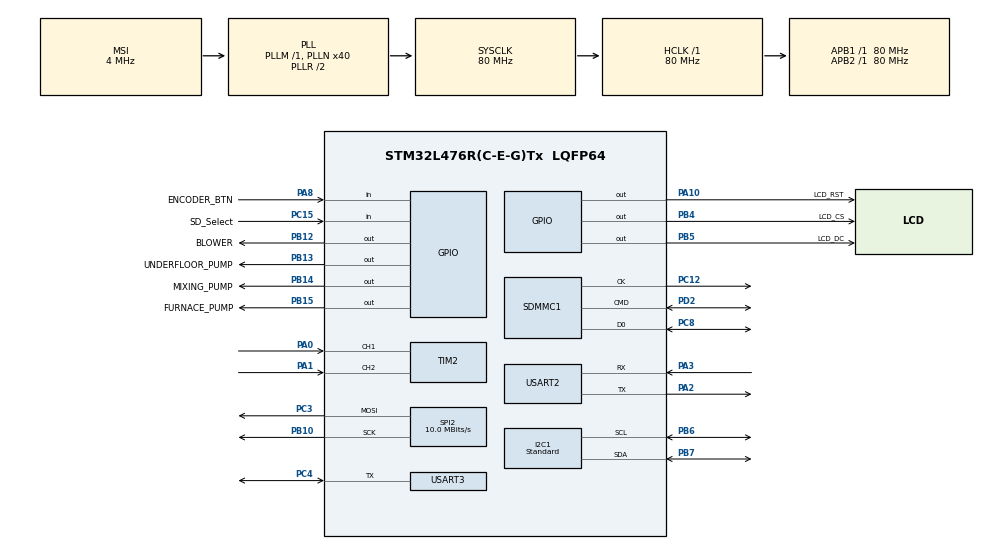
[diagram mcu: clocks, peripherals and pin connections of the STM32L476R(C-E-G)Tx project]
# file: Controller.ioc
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Dma.Request0=SPI2_TX
Dma.SPI2_TX.0.Direction=DMA_MEMORY_TO_PERIPH
Dma.SPI2_TX.0.Instance=DMA1_Channel5
Dma.SPI2_TX.0.MemDataAlignment=DMA_MDATAALIGN_BYTE
Dma.SPI2_TX.0.MemInc=DMA_MINC_ENABLE
Dma.SPI2_TX.0.Mode=DMA_NORMAL
Dma.SPI2_TX.0.PeriphDataAlignment=DMA_PDATAALIGN_BYTE
Dma.SPI2_TX.0.PeriphInc=DMA_PINC_DISABLE
Dma.SPI2_TX.0.Priority=DMA_PRIORITY_LOW
FATFS.BSP.number=1
FATFS._MAX_SS=512
FATFS0.BSP.STBoard=false
FATFS0.BSP.api=Unknown
FATFS0.BSP.instance=PC15-OSC32_OUT (PC15)
FATFS0.BSP.ip=GPIO
FATFS0.BSP.mode=Input
FATFS0.BSP.name=Detect_SDIO
FATFS0.BSP.solution=PC15-OSC32_OUT (PC15)
I2C1.I2C_Speed_Mode=I2C_Standard
I2C1.Timing=0x10D19CE4
Mcu.Family=STM32L4
Mcu.Name=STM32L476R(C-E-G)Tx
Mcu.Package=LQFP64
NVIC.DMA1_Channel5_IRQn=true\:0\:0\:false\:false\:true\:false\:true\:true
NVIC.PriorityGroup=NVIC_PRIORITYGROUP_4
NVIC.TIM7_IRQn=true\:10\:0\:true\:false\:true\:true\:true\:true
PA0.Signal=S_TIM2_CH1
PA1.Signal=S_TIM2_CH2
PA10.GPIO_Label=LCD_RST
PA10.Signal=GPIO_Output
PA13\ (JTMS-SWDIO).Mode=Serial_Wire
PA13\ (JTMS-SWDIO).Signal=SYS_JTMS-SWDIO
PA14\ (JTCK-SWCLK).Mode=Serial_Wire
PA14\ (JTCK-SWCLK).Signal=SYS_JTCK-SWCLK
PA2.Mode=Asynchronous
PA2.Signal=USART2_TX
PA3.Mode=Asynchronous
PA3.Signal=USART2_RX
PA8.GPIO_Label=ENCODER_BTN
PA8.Signal=GPIO_Input
PB10.Mode=TX_Only_Simplex_Unidirect_Master
PB10.Signal=SPI2_SCK
PB12.GPIO_Label=BLOWER
PB12.Signal=GPIO_Output
PB13.GPIO_Label=UNDERFLOOR_PUMP
PB13.Signal=GPIO_Output
PB14.GPIO_Label=MIXING_PUMP
PB14.Signal=GPIO_Output
PB15.GPIO_Label=FURNACE_PUMP
PB15.Signal=GPIO_Output
PB4\ (NJTRST).GPIO_Label=LCD_CS
PB4\ (NJTRST).PinState=GPIO_PIN_SET
PB4\ (NJTRST).Signal=GPIO_Output
PB5.GPIO_Label=LCD_DC
PB5.Signal=GPIO_Output
PB6.Mode=I2C
PB6.Signal=I2C1_SCL
PB7.Mode=I2C
PB7.Signal=I2C1_SDA
PC12.Mode=SD_1_bit
PC12.Signal=SDMMC1_CK
PC15-OSC32_OUT\ (PC15).GPIO_Label=SD_Select
PC15-OSC32_OUT\ (PC15).Signal=GPIO_Input
PC3.Mode=TX_Only_Simplex_Unidirect_Master
PC3.Signal=SPI2_MOSI
PC4.Mode=Half_duplex(single_wire_mode)
PC4.Signal=USART3_TX
PC8.Mode=SD_1_bit
PC8.Signal=SDMMC1_D0
PD2.Mode=SD_1_bit
PD2.Signal=SDMMC1_CMD
ProjectManager.HeapSize=0x2000
ProjectManager.StackSize=0x3000
ProjectManager.TargetToolchain=STM32CubeIDE
RCC.ADCFreq_Value=40000000
RCC.AHBFreq_Value=80000000
RCC.APB1Freq_Value=80000000
RCC.APB1TimFreq_Value=80000000
RCC.APB2Freq_Value=80000000
RCC.APB2TimFreq_Value=80000000
RCC.CortexFreq_Value=80000000
RCC.HCLKFreq_Value=80000000
RCC.HSE_VALUE=8000000
RCC.HSI_VALUE=16000000
RCC.LSE_VALUE=32768
RCC.MSI_VALUE=4000000
RCC.PLLN=40
RCC.PLLQ=RCC_PLLQ_DIV4
RCC.PLLSAI1N=20
RCC.PLLSAI2N=52
RCC.PLLSAI2P=RCC_PLLP_DIV17
RCC.SAI1CLockSelection=RCC_SAI1CLKSOURCE_PLLSAI2
RCC.SYSCLKFreq_VALUE=80000000
RCC.SYSCLKSource=RCC_SYSCLKSOURCE_PLLCLK
RCC.USART2CLockSelection=RCC_USART2CLKSOURCE_SYSCLK
RCC.USBFreq_Value=40000000
RCC.VCOOutputFreq_Value=160000000
RTC.Date=16
RTC.Format=RTC_FORMAT_BCD
RTC.Hours=21
RTC.Minutes=37
RTC.Month=RTC_MONTH_JULY
RTC.Seconds=25
RTC.WeekDay=RTC_WEEKDAY_TUESDAY
RTC.Year=24
SH.S_TIM2_CH1.0=TIM2_CH1,Encoder_Interface
SH.S_TIM2_CH2.0=TIM2_CH2,Encoder_Interface
SPI2.BaudRatePrescaler=SPI_BAUDRATEPRESCALER_8
SPI2.CalculateBaudRate=10.0 MBits/s
SPI2.DataSize=SPI_DATASIZE_8BIT
SPI2.Direction=SPI_DIRECTION_2LINES
SPI2.Mode=SPI_MODE_MASTER
SPI2.NSSPMode=SPI_NSS_PULSE_DISABLE
SPI2.VirtualType=VM_MASTER
TIM6.Prescaler=79
TIM7.Period=9999
TIM7.Prescaler=7999
USART2.VirtualMode-Asynchronous=VM_ASYNC
USART3.BaudRate=9600
USART3.OverrunDisableParam=ADVFEATURE_OVERRUN_DISABLE
USART3.VirtualMode-Half_duplex(single_wire_mode)=VM_ASYNC
VP_FATFS_VS_SDIO.Mode=SDIO
VP_RTC_VS_RTC_Activate.Mode=RTC_Enabled
VP_RTC_VS_RTC_Calendar.Mode=RTC_Calendar
VP_TIM6_VS_ClockSourceINT.Mode=Enable_Timer
VP_TIM7_VS_ClockSourceINT.Mode=Enable_Timer
board=custom

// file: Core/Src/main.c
/* USER CODE BEGIN Header */
/**
  ******************************************************************************
  * @file           : main.c
  * @brief          : Main program body
  ******************************************************************************
  * @attention
  *
  * Copyright (c) 2024 STMicroelectronics.
  * All rights reserved.
  *
  * This software is licensed under terms that can be found in the LICENSE file
  * in the root directory of this software component.
  * If no LICENSE file comes with this software, it is provided AS-IS.
  *
  ******************************************************************************
  */
/* USER CODE END Header */
#include "main.h"
#include "dma.h"
#include "fatfs.h"
#include "i2c.h"
#include "rtc.h"
#include "sdmmc.h"
#include "spi.h"
#include "tim.h"
#include "usart.h"
#include "gpio.h"

/* USER CODE BEGIN Includes */
#include "stdio.h"
#include "stdbool.h"
#include "lcd_seven_segment.h"
#include "one_wire.h"
#include "eeprom.h"
#include "fire_controller_configuration.h"
#include "sd_controll.h"

#include "lvgl.h"
#include "lcd.h"
#include "lcd_controller.h"
#include "menu.h"
#include "port_encoder.h"
/* USER CODE END Includes */

/* USER CODE BEGIN PTD */
typedef enum {
	FSM_IDLE = 0,
	FSM_PREHEATING,
	FSM_WORK,
	FSM_EXTINCTION,
	FSM_OVERHEATING,
	FSM_BLOWOUT,
}FSM;

typedef struct {
	GPIO_TypeDef* Port;
	uint16_t Pin;
	bool is_active;
} PUMP_GPIO;
/* USER CODE END PTD */

/* USER CODE BEGIN PD */
#define NO_SENSORS						4
#define FURNACE_OVERHEAT_TEMPERATURE 	(float)95.0f
#define OUT_WATER_OVERHEAT_TEMPERATURE 	(float)90.0f
/* USER CODE END PD */

/* USER CODE BEGIN PV */
static PUMP_GPIO furnace_pump = {FURNACE_PUMP_GPIO_Port, FURNACE_PUMP_Pin, false};
static PUMP_GPIO mixing_pump = {MIXING_PUMP_GPIO_Port, MIXING_PUMP_Pin, false};
static PUMP_GPIO underfloor_pump = {UNDERFLOOR_PUMP_GPIO_Port, UNDERFLOOR_PUMP_Pin, false};
static PUMP_GPIO blower = {BLOWER_GPIO_Port, BLOWER_Pin, false};
static FCC fcc = {60, 2, 30, 50, 15, 6, 60, 55, 4, 10, 40, 4, 0, 45, 1, 1};
static float temperature_array[NO_SENSORS] = {0};
static bool do_log = true;
static bool do_blowout = false;
static bool stop_blowout = true;
static uint16_t sd_counter = 0;
static uint16_t blowout_activ_time = 0;
static uint16_t blowout_break_time = 0;
static int16_t current_furnace_temperature = 0;
static int16_t last_furance_temperature = 0;
static int8_t temperature_diff_counter = 0;
static FSM current_state = FSM_IDLE;
static FSM last_state = FSM_IDLE;

static input_data_t menu_data = {0, 60, 61, 59, 1, 1, 0, 0};

/* USER CODE END PV */

void SystemClock_Config(void);

/* USER CODE BEGIN 0 */
static void do_counts() {
	current_furnace_temperature = (int16_t)temperature_array[0];
	sd_counter++;
	if (do_blowout) {
		blowout_activ_time++;
	}
	if (stop_blowout) {
		blowout_break_time++;
	}

	if (sd_counter == 3600) {
		temperature_diff_counter = 0;
		sd_counter = 0;
		do_log = true;
	}

	if (blowout_break_time >= (fcc.blowout_break * 60)) {
		do_blowout = true;
		stop_blowout = false;
	}

	if (blowout_activ_time >= fcc.blowout_time) {
		do_blowout = false;
		stop_blowout = true;
	}

	if (current_furnace_temperature > last_furance_temperature) {
		temperature_diff_counter++;
		last_furance_temperature = current_furnace_temperature;
	}
	else if (current_furnace_temperature < last_furance_temperature) {
		temperature_diff_counter--;
		last_furance_temperature = current_furnace_temperature;
	}

}

int __io_putchar(int ch)
{
  if (ch == '\n') {
    __io_putchar('\r');
  }

  HAL_UART_Transmit(&huart2, (uint8_t*)&ch, 1, HAL_MAX_DELAY);

  return 1;
}

void HAL_SPI_TxCpltCallback(SPI_HandleTypeDef *hspi)
{
	if (hspi == &hspi2)
	{
		lcd_transfer_done();
	}
}

void HAL_TIM_PeriodElapsedCallback(TIM_HandleTypeDef *htim)
{
  if (htim == &htim7) {
	  get_all_temperature(temperature_array, fcc.temperature_offset);
	  do_counts();
  }
}

static void activate_pump(PUMP_GPIO* pump) {
	HAL_GPIO_WritePin(pump->Port, pump->Pin, GPIO_PIN_SET);
	pump->is_active = true;
}

static void deactivate_pump(PUMP_GPIO* pump) {
	HAL_GPIO_WritePin(pump->Port, pump->Pin, GPIO_PIN_RESET);
	pump->is_active = false;
}

static bool is_pump_activated(PUMP_GPIO* pump) {
	return pump->is_active;
}

static bool start_preheating() {
	return should_start();
}

static bool wrong_sensor_read() {
	for(uint8_t i = 0; i < NO_SENSORS; i++) {
		if (temperature_array[i] == 500.0f)
			return true;
	}
	return false;
}

static void update_menu_data() {
	menu_data.fsm_mode = (uint8_t)current_state;
	menu_data.furnace = (int8_t)temperature_array[0];
	menu_data.tank_top = (int8_t)temperature_array[2];
	menu_data.tank_bottom = (int8_t)temperature_array[3];
	menu_data.active_f_pump = is_pump_activated(&furnace_pump) ? 1 : 0;
	menu_data.active_m_pump = is_pump_activated(&mixing_pump) ? 1 : 0;
	menu_data.active_u_pump = is_pump_activated(&underfloor_pump) ? 1 : 0;
	menu_data.active_blower = is_pump_activated(&blower) ? 1 : 0;

	send_input_data(&menu_data);
	get_settings_data(&fcc);
}

/* USER CODE END 0 */

int main(void)
{

  /* MCU Configuration--------------------------------------------------------*/

  /* Reset of all peripherals, Initializes the Flash interface and the Systick. */
  HAL_Init();

  /* Configure the system clock */
  SystemClock_Config();

  /* Initialize all configured peripherals */
  MX_GPIO_Init();
  MX_DMA_Init();
  MX_I2C1_Init();
  MX_TIM6_Init();
  MX_USART2_UART_Init();
  MX_USART3_UART_Init();
  MX_TIM7_Init();
  MX_SDMMC1_SD_Init();
  MX_FATFS_Init();
  MX_RTC_Init();
  MX_TIM2_Init();
  MX_SPI2_Init();
  /* USER CODE BEGIN 2 */
  HAL_TIM_Base_Start(&htim6);
  OW_init(&huart3, &htim6); // init One Wire DS18B20 library
  eeprom_init(&hi2c1);		// init EEPROM library

  read_fc_configuration(&fcc); // read furance config from EEPORM
  if (set_rtc_datatime() != HAL_OK)
	  printf("RTC Error\n");

  get_all_temperature(temperature_array, fcc.temperature_offset);  // read temperatures

  lv_init();

  lv_port_disp_init();
  lv_port_indev_init();

  lv_group_t* menu_group = lv_group_create();
  lv_group_set_default(menu_group);
  lv_indev_set_group(encoder_get_ptr(), menu_group);

  menu_init(&fcc);
  start_menu();
  send_input_data(&menu_data);

  HAL_TIM_Base_Start_IT(&htim7);
  /* USER CODE END 2 */

  /* Infinite loop */
  /* USER CODE BEGIN WHILE */
  SD_Controll_Status sd_res;

  while (1) {
	  switch(current_state) {
	  case FSM_IDLE: {
		  deactivate_pump(&furnace_pump);
		  deactivate_pump(&mixing_pump);
		  deactivate_pump(&underfloor_pump);
		  deactivate_pump(&blower);

		  if (wrong_sensor_read()) {
			  break;
		  }

		  if (temperature_diff_counter >= 5) {
			  temperature_diff_counter = 0;
			  last_state = current_state;
			  current_state = FSM_PREHEATING;
		  }

		  if (temperature_array[0] >= fcc.furnace_turn_off_temperature || start_preheating()) {
			  temperature_diff_counter = 0;
			  last_state = current_state;
			  current_state = FSM_PREHEATING;
		  }

		  if (temperature_array[0] >= FURNACE_OVERHEAT_TEMPERATURE || temperature_array[1] >= OUT_WATER_OVERHEAT_TEMPERATURE) {
			  last_state = current_state;
			  current_state = FSM_OVERHEATING;
		  }

		  break;
	  }
	  case FSM_PREHEATING: {
		  if (wrong_sensor_read()) {
			  current_state = FSM_IDLE;
			  break;
		  }

		  if (fcc.blower_active) {
			  activate_pump(&blower);
		  }

		  if (temperature_array[0] >= fcc.furnace_pump_activation_temperature + (fcc.furnace_pump_hysteresis >> 1)) {
			  activate_pump(&furnace_pump);

			  if (fcc.underfloor_pump_active) {
				  activate_pump(&underfloor_pump);
			  }
		  }

		  if (temperature_array[0] >= fcc.furnace_temperature) {
			  last_state = current_state;
			  current_state = FSM_WORK;
		  }

		  if (temperature_diff_counter <= -5) {
		  		temperature_diff_counter = 0;
		  		if (temperature_array[0] >= fcc.furnace_turn_off_temperature) {
		  			last_state = current_state;
		  			current_state = FSM_EXTINCTION;
		  		}
		  		else {
					last_state = current_state;
					current_state = FSM_IDLE;
		  		}
		  }

		  if (temperature_array[0] >= FURNACE_OVERHEAT_TEMPERATURE || temperature_array[1] >= OUT_WATER_OVERHEAT_TEMPERATURE) {
			  last_state = current_state;
			  current_state = FSM_OVERHEATING;
		  }

		  break;
	  }
	  case FSM_WORK: {
		  // bledne odczytywanie temperatury
		  if (wrong_sensor_read()) {
			  current_state = FSM_IDLE;
			  break;
		  }

		  if (!is_pump_activated(&furnace_pump)) {
			  activate_pump(&furnace_pump);

			  if (fcc.underfloor_pump_active && !is_pump_activated(&underfloor_pump)) {
				  activate_pump(&underfloor_pump);
			  }
		  }

		  // zalacznie dmuchawy
		  if (temperature_array[0] >= fcc.furnace_temperature + (fcc.blower_hysteresis >> 1) && fcc.blower_active) {
			  deactivate_pump(&blower);
		  }
		  else if (temperature_array[0] < fcc.furnace_temperature - (fcc.blower_hysteresis >> 1) && fcc.blower_active) {
			  activate_pump(&blower);
		  }

		  // przejscie do przedmuchu
		  if (do_blowout && fcc.blower_active) {
			  last_state = current_state;
			  current_state = FSM_BLOWOUT;
		  }

		  // zalaczanie pompy mieszajacej
		  if (temperature_array[2] - temperature_array[3] >= fcc.furnace_tank_temperature_difference
				  && temperature_array[2] >= fcc.water_tank_pump_activation_temperature + (fcc.water_tank_pump_hysteresis >> 1)) {
			  activate_pump(&mixing_pump);
		  }
		  else if (temperature_array[2] - temperature_array[3] < fcc.furnace_tank_temperature_difference
				  || temperature_array[2] < fcc.water_tank_pump_activation_temperature - (fcc.water_tank_pump_hysteresis >> 1)) {
			  deactivate_pump(&mixing_pump);
		  }
		  else {
			  deactivate_pump(&mixing_pump);
		  }

		  // przejscie do przegrzania
		  if (temperature_array[0] >= FURNACE_OVERHEAT_TEMPERATURE || temperature_array[1] >= OUT_WATER_OVERHEAT_TEMPERATURE) {
			  last_state = current_state;
			  current_state = FSM_OVERHEATING;
		  }

		  break;
	  }
	  case FSM_EXTINCTION: {
		  if (wrong_sensor_read()) {
			  current_state = FSM_IDLE;
			  break;
		  }

		  deactivate_pump(&underfloor_pump);
		  deactivate_pump(&furnace_pump);
		  deactivate_pump(&blower);
		  deactivate_pump(&mixing_pump); // mieszanie wody?

		  if (temperature_array[0] <= 25.0) {
			  last_state = current_state;
			  current_state = FSM_IDLE;
		  }

		  if (temperature_diff_counter >= 5) {
		  		temperature_diff_counter = 0;
		  		last_state = current_state;
		  		current_state = FSM_PREHEATING;
		  }

		  if (temperature_array[0] >= FURNACE_OVERHEAT_TEMPERATURE || temperature_array[1] >= OUT_WATER_OVERHEAT_TEMPERATURE) {
			  last_state = current_state;
			  current_state = FSM_OVERHEATING;
		  }

		  break;
	  }
	  case FSM_OVERHEATING: {
		  if (wrong_sensor_read()) {
			  current_state = FSM_OVERHEATING;
			  break;
		  }

		  activate_pump(&underfloor_pump);
		  activate_pump(&mixing_pump);
		  activate_pump(&furnace_pump);
		  deactivate_pump(&blower);

		  if (temperature_array[0] <= (float)fcc.furnace_temperature + 20.0f && temperature_array[1] <= 80.0f) {
			  current_state = last_state;
			  last_state = FSM_OVERHEATING;
		  }

		  break;
	  }
	  case FSM_BLOWOUT: {
		  if (wrong_sensor_read()) {
			  current_state = FSM_IDLE;
			  break;
		  }

		  activate_pump(&blower);

		  if (stop_blowout) {
			  deactivate_pump(&blower);
			  last_state = current_state;
			  current_state = FSM_WORK;
		  }

		  if (temperature_array[0] >= FURNACE_OVERHEAT_TEMPERATURE || temperature_array[1] >= OUT_WATER_OVERHEAT_TEMPERATURE) {
			  last_state = FSM_WORK;
			  current_state = FSM_OVERHEATING;
		  }

		  break;
	  }
	  default: {
		  current_state = FSM_IDLE;
		  break;
	  }
	  }

	  if (do_log) {
		  do_log = false;
		  sd_res = log_data(temperature_array[0]);
		  if (sd_res != SD_OK)
			  printf("SD ERROR %d\t", sd_res);
	  }

	  printf("T1= %f C\tT2= %f C\n", temperature_array[0], temperature_array[1]);
	  printf("T3= %f C\tT4= %f C\n", temperature_array[2], temperature_array[3]);
	  printf("C state: %d\tTemp diff: %d\n", current_state, temperature_diff_counter);

	  update_menu_data();

	  check_if_inactive();

	  lv_timer_handler();
	  encoder_handler();

	  HAL_Delay(5); // czy potrzebne?

    /* USER CODE END WHILE */

  }
}

void SystemClock_Config(void)
{
  RCC_OscInitTypeDef RCC_OscInitStruct = {0};
  RCC_ClkInitTypeDef RCC_ClkInitStruct = {0};

  /** Configure the main internal regulator output voltage
  */
  if (HAL_PWREx_ControlVoltageScaling(PWR_REGULATOR_VOLTAGE_SCALE1) != HAL_OK)
  {
    Error_Handler();
  }

  /** Initializes the RCC Oscillators according to the specified parameters
  * in the RCC_OscInitTypeDef structure.
  */
  RCC_OscInitStruct.OscillatorType = RCC_OSCILLATORTYPE_LSI|RCC_OSCILLATORTYPE_MSI;
  RCC_OscInitStruct.LSIState = RCC_LSI_ON;
  RCC_OscInitStruct.MSIState = RCC_MSI_ON;
  RCC_OscInitStruct.MSICalibrationValue = 0;
  RCC_OscInitStruct.MSIClockRange = RCC_MSIRANGE_6;
  RCC_OscInitStruct.PLL.PLLState = RCC_PLL_ON;
  RCC_OscInitStruct.PLL.PLLSource = RCC_PLLSOURCE_MSI;
  RCC_OscInitStruct.PLL.PLLM = 1;
  RCC_OscInitStruct.PLL.PLLN = 40;
  RCC_OscInitStruct.PLL.PLLP = RCC_PLLP_DIV7;
  RCC_OscInitStruct.PLL.PLLQ = RCC_PLLQ_DIV4;
  RCC_OscInitStruct.PLL.PLLR = RCC_PLLR_DIV2;
  if (HAL_RCC_OscConfig(&RCC_OscInitStruct) != HAL_OK)
  {
    Error_Handler();
  }

  /** Initializes the CPU, AHB and APB buses clocks
  */
  RCC_ClkInitStruct.ClockType = RCC_CLOCKTYPE_HCLK|RCC_CLOCKTYPE_SYSCLK
                              |RCC_CLOCKTYPE_PCLK1|RCC_CLOCKTYPE_PCLK2;
  RCC_ClkInitStruct.SYSCLKSource = RCC_SYSCLKSOURCE_PLLCLK;
  RCC_ClkInitStruct.AHBCLKDivider = RCC_SYSCLK_DIV1;
  RCC_ClkInitStruct.APB1CLKDivider = RCC_HCLK_DIV1;
  RCC_ClkInitStruct.APB2CLKDivider = RCC_HCLK_DIV1;

  if (HAL_RCC_ClockConfig(&RCC_ClkInitStruct, FLASH_LATENCY_4) != HAL_OK)
  {
    Error_Handler();
  }
}

void Error_Handler(void)
{
  __disable_irq();
  while (1)
  {
  }
}
